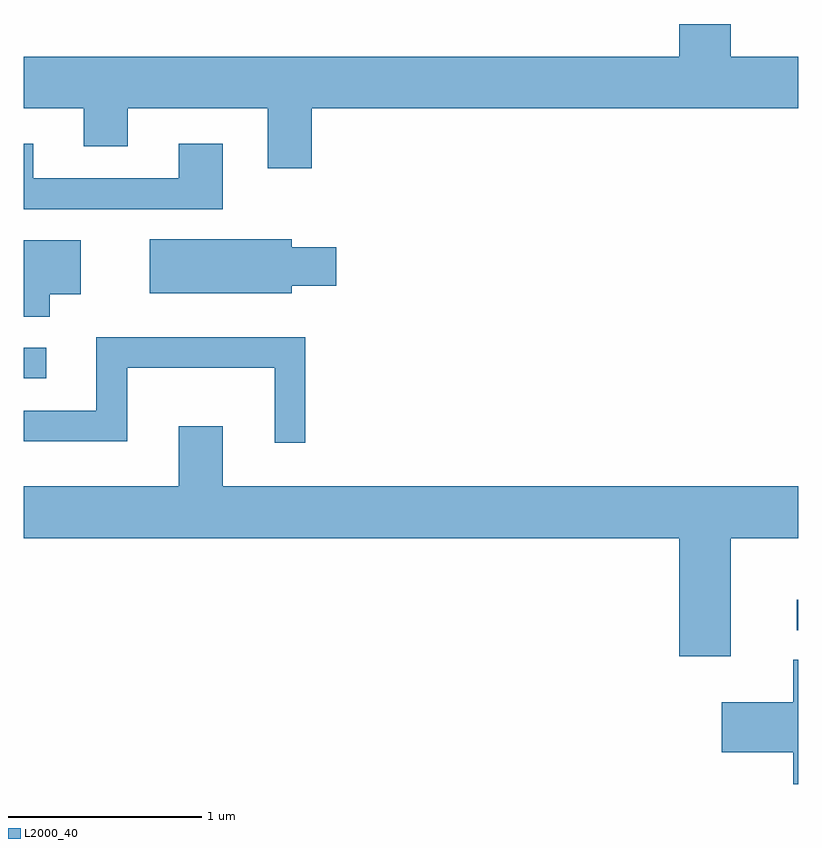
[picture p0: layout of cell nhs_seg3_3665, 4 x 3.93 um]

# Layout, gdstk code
import gdstk
lib = gdstk.Library(unit=1e-6, precision=1e-09)
def R(c, l, rs):  # rectangles x0, y0, x1, y1
    for r in rs: c.add(gdstk.rectangle(r[:2], r[2:], *l))
def P(c, l, *ps):  # polygons
    for p in ps: c.add(gdstk.Polygon(p, *l))
L2000_40 = (2000, 40)

nhs_seg3_3665 = lib.new_cell('nhs_seg3_3665')
R(nhs_seg3_3665, L2000_40, [(295.603,1238.761,295.611,1238.919), (291.611,1240.061,291.728,1240.219)])
P(nhs_seg3_3665, L2000_40, [(293.099,1241.456),(295.611,1241.456),(295.611,1241.724),(295.264,1241.724),(295.264,1241.892),(294.996,1241.892),(294.996,1241.724),(291.611,1241.724),(291.611,1241.456),(291.921,1241.456),(291.921,1241.261),(292.149,1241.261),(292.149,1241.456),(292.871,1241.456),(292.871,1241.146),(293.099,1241.146)],
  [(292.639,1241.274),(292.411,1241.274),(292.411,1241.094),(291.659,1241.094),(291.659,1241.274),(291.611,1241.274),(291.611,1240.936),(292.639,1240.936)],
  [(292.994,1240.541),(293.224,1240.541),(293.224,1240.739),(292.994,1240.739),(292.994,1240.779),(292.261,1240.779),(292.261,1240.501),(292.994,1240.501)],
  [(291.744,1240.496),(291.904,1240.496),(291.904,1240.774),(291.611,1240.774),(291.611,1240.381),(291.744,1240.381)],
  [(293.064,1240.274),(291.986,1240.274),(291.986,1239.894),(291.611,1239.894),(291.611,1239.736),(292.144,1239.736),(292.144,1240.116),(292.906,1240.116),(292.906,1239.728),(293.064,1239.728)],
  [(295.264,1239.236),(295.611,1239.236),(295.611,1239.504),(292.639,1239.504),(292.639,1239.814),(292.411,1239.814),(292.411,1239.504),(291.611,1239.504),(291.611,1239.236),(294.996,1239.236),(294.996,1238.626),(295.264,1238.626)],
  [(295.611,1238.609),(295.586,1238.609),(295.586,1238.389),(295.216,1238.389),(295.216,1238.131),(295.586,1238.131),(295.586,1237.966),(295.611,1237.966)])

lib.write_gds('nhs_seg3_3665.gds')
